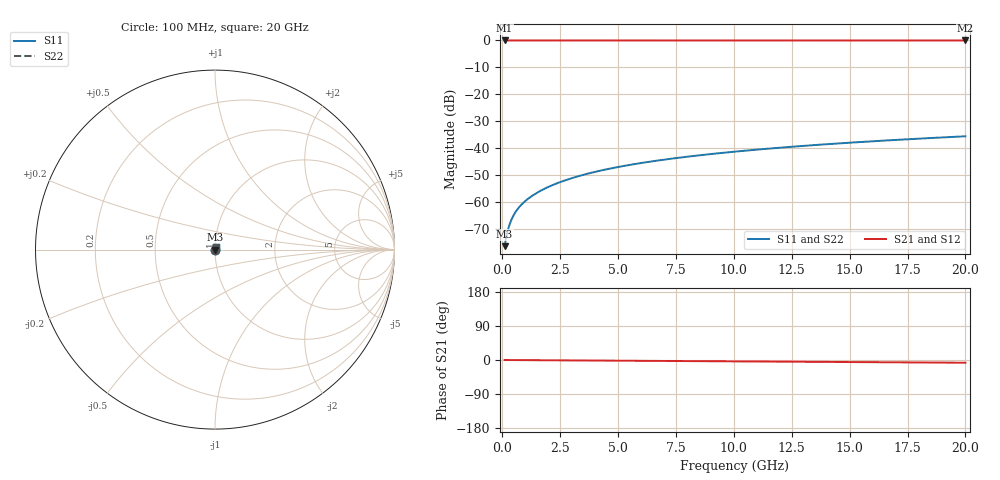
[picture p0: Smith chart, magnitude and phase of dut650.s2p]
! Touchstone file exported from HFSS 2026.1.0
!  File:  C:/ffzhzh/LocalFiles/Ansys_Project_Files/temp_train_TSV_650_1783026652_4048.aedt
!  Generated:  05:12:33 AM Jul  3, 2026
!  Design:  TSV
!  Project:  temp_train_TSV_650_1783026652_4048
! Variables:
!  h_bsmrdl = 2um
!  h_ox = 20um
!  h_rdl = 5um
!  h_sub = 67.48um
!  h_tmrdl = 5um
!  h_tsv = 67.48um
!  h_via = 3um
!  l_bsmrdl = 300um
!  l_sub = 422.7um
!  l_tmrdl = 200um
!  m_sub = 200um
!  pitch = 52.28um
!  r_tsv = 11.35um
!  s_tmrdl = 10um
!  w_bsmrdl = 18um
!  w_sub = 500um
!  w_tmrdl = 12um
!  x_tsv_center1 = 206um
!  x_tsv_center2 = 524um
!  x_tsv_center3 = 736um
!  x_tsv_center4 = 1054um
!  x_tsv_center5 = 1266um
!  x_tsv_center6 = 1584um
# GHz S MA R 50.000000
! Terminal data exported
! Port[1] = TSV1_1_T1
! Port[2] = TSV1_1_T2
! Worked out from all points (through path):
!   200 points, 100 MHz to 20 GHz, reference 50 ohm
!   highest |S21| = 0.00 dB at 100 MHz (marker M1); lowest = 0.0 dB at 20 GHz (marker M2)
!   lowest |S11| = -76.5 dB at 100 MHz (marker M3), VSWR 1.00, Z = 50 + j0.0118 ohm
!   |S11| at or under -10 dB: start of sweep to end of sweep
!   |S22| runs from -76.5 to -35.6 dB; largest |S21 - S12| = 5.9e-15
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0.1  0.0001495 52.0  0.9999 -0.0  0.9999 -0.0  0.0001495 52.0
! Gamma 0 0 0 0
! Port Impedance 50 0 50 0
0.2  0.0002548 66.3  0.9999 -0.1  0.9999 -0.1  0.0002548 66.3
0.3  0.0003642 71.2  0.9999 -0.1  0.9999 -0.1  0.0003642 71.2
0.4  0.0004711 73.2  0.9999 -0.2  0.9999 -0.2  0.0004711 73.2
0.5  0.000574 74.2  0.9998 -0.2  0.9998 -0.2  0.000574 74.2
0.6  0.0006729 74.8  0.9998 -0.2  0.9998 -0.2  0.0006729 74.8
0.7  0.0007682 75.3  0.9998 -0.3  0.9998 -0.3  0.0007682 75.3
0.9  0.0009508 76.0  0.9998 -0.3  0.9998 -0.3  0.0009508 76.0
1.1  0.001127 76.7  0.9997 -0.4  0.9997 -0.4  0.001127 76.7
1.3  0.0013 77.4  0.9997 -0.5  0.9997 -0.5  0.0013 77.4
1.6  0.001557 78.3  0.9997 -0.6  0.9997 -0.6  0.001557 78.3
1.9  0.001812 79.1  0.9997 -0.7  0.9997 -0.7  0.001812 79.1
2.6  0.002409 80.3  0.9996 -0.9  0.9996 -0.9  0.002409 80.3
3.5  0.003174 81.2  0.9996 -1.3  0.9996 -1.3  0.003174 81.2
4.2  0.003765 81.5  0.9995 -1.5  0.9995 -1.5  0.003765 81.5
5  0.004434 81.7  0.9995 -1.8  0.9995 -1.8  0.004434 81.7
6.8  0.005923 81.9  0.9994 -2.5  0.9994 -2.5  0.005923 81.9
8.3  0.007149 81.8  0.9993 -3.0  0.9993 -3.0  0.007149 81.8
10.1  0.008611 81.6  0.9992 -3.6  0.9992 -3.6  0.008611 81.6
13.4  0.01127 81.0  0.9991 -4.8  0.9991 -4.8  0.01127 81.0
16.7  0.01391 80.2  0.999 -6.0  0.999 -6.0  0.01391 80.2
20  0.01651 79.3  0.9989 -7.2  0.9989 -7.2  0.01651 79.3
